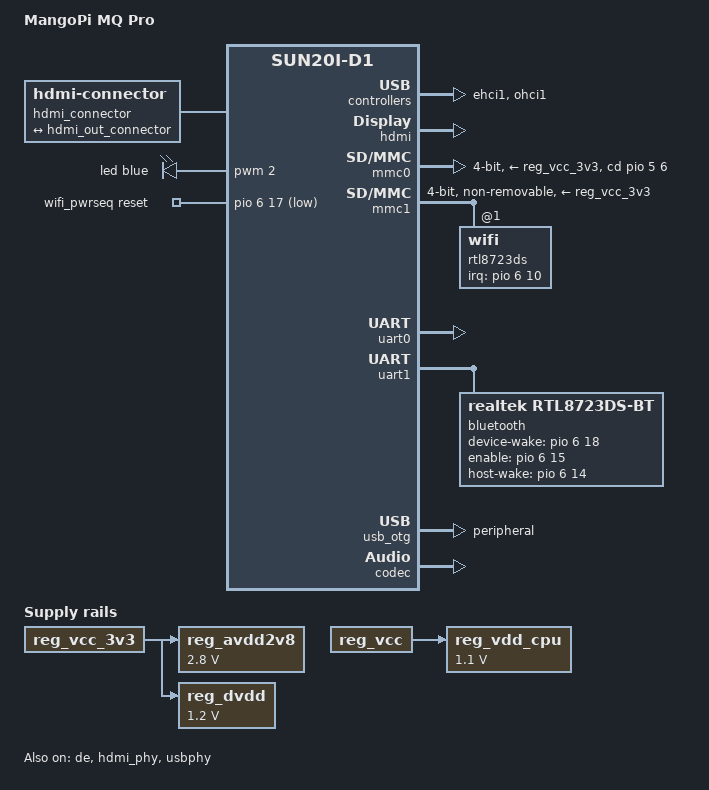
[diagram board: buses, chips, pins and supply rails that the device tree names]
// SPDX-License-Identifier: (GPL-2.0+ or MIT)
// Copyright (C) 2022 Samuel Holland <samuel@sholland.org>

/dts-v1/;

#include <dt-bindings/gpio/gpio.h>
#include <dt-bindings/leds/common.h>

#include "sun20i-d1.dtsi"
#include "sun20i-d1-common-regulators.dtsi"

/ {
	model = "MangoPi MQ Pro";
	compatible = "widora,mangopi-mq-pro", "allwinner,sun20i-d1";

	aliases {
		ethernet0 = &rtl8723ds;
		mmc0 = &mmc0;
		serial0 = &uart0;
	};

	chosen {
		stdout-path = "serial0:115200n8";
	};

	hdmi_connector: connector {
		compatible = "hdmi-connector";
		type = "c";

		port {
			hdmi_connector_in: endpoint {
				remote-endpoint = <&hdmi_out_connector>;
			};
		};
	};

	leds {
		compatible = "pwm-leds";

		led {
			color = <LED_COLOR_ID_BLUE>;
			function = LED_FUNCTION_STATUS;
			max-brightness = <255>;
			pwms = <&pwm 2 50000 0>;
		};
	};

	reg_avdd2v8: avdd2v8 {
		compatible = "regulator-fixed";
		regulator-name = "avdd2v8";
		regulator-min-microvolt = <2800000>;
		regulator-max-microvolt = <2800000>;
		vin-supply = <&reg_vcc_3v3>;
	};

	reg_dvdd: dvdd {
		compatible = "regulator-fixed";
		regulator-name = "dvdd";
		regulator-min-microvolt = <1200000>;
		regulator-max-microvolt = <1200000>;
		vin-supply = <&reg_vcc_3v3>;
	};

	reg_vdd_cpu: vdd-cpu {
		compatible = "regulator-fixed";
		regulator-name = "vdd-cpu";
		regulator-min-microvolt = <1100000>;
		regulator-max-microvolt = <1100000>;
		vin-supply = <&reg_vcc>;
	};

	wifi_pwrseq: wifi-pwrseq {
		compatible = "mmc-pwrseq-simple";
		reset-gpios = <&pio 6 17 GPIO_ACTIVE_LOW>; /* PG17 */
	};
};

&cpu0 {
        cpu-supply = <&reg_vdd_cpu>;
        riscv,isa = "rv64imafdcv";
};

&de {
	status = "okay";
};

&ehci1 {
	status = "okay";
};

&hdmi {
	status = "okay";
};

&hdmi_out {
	hdmi_out_connector: endpoint {
		remote-endpoint = <&hdmi_connector_in>;
	};
};

&hdmi_phy {
	status = "okay";
};

&mmc0 {
	bus-width = <4>;
	cd-gpios = <&pio 5 6 GPIO_ACTIVE_HIGH>; /* PF6 */
	disable-wp;
	vmmc-supply = <&reg_vcc_3v3>;
	vqmmc-supply = <&reg_vcc_3v3>;
	pinctrl-0 = <&mmc0_pins>;
	pinctrl-names = "default";
	status = "okay";
};

&mmc1 {
	bus-width = <4>;
	mmc-pwrseq = <&wifi_pwrseq>;
	non-removable;
	vmmc-supply = <&reg_vcc_3v3>;
	vqmmc-supply = <&reg_vcc_3v3>;
	pinctrl-0 = <&mmc1_pins>;
	pinctrl-names = "default";
	status = "okay";

	rtl8723ds: wifi@1 {
		reg = <1>;
		interrupt-parent = <&pio>;
		interrupts = <6 10 IRQ_TYPE_LEVEL_LOW>; /* PG10 */
		interrupt-names = "host-wake";
	};
};

&ohci1 {
	status = "okay";
};

&pio {
	vcc-pe-supply = <&reg_avdd2v8>;

        // Line names
        gpio-line-names =
            // Port A
            "", "", "", "", "", "", "", "",
            "", "", "", "", "", "", "", "",
            "", "", "", "", "", "", "", "",
            "", "", "", "", "", "", "", "",

            // Port B
            "PB0", "PB1", "PB2", "PB3",
            "PB4", "PB5", "PB6", "PB7",
            "PB8", "PB9", "PB10", "PB11",
            "PB12", "", "", "",
            "", "", "", "",
            "", "", "", "",
            "", "", "", "",
            "", "", "", "",

            // Port C
            "PC0", "PC1", "PC2", "PC3",
            "PC4", "PC5", "PC6", "PC7",
            "", "", "", "",
            "", "", "", "",
            "", "", "", "",
            "", "", "", "",
            "", "", "", "",
            "", "", "", "",

            // Port D
            "PD0", "PD1", "PD2", "PD3",
            "PD4", "PD5", "PD6", "PD7",
            "PD8", "PD9", "PD10", "PD11",
            "PD12", "PD13", "PD14", "PD15",
            "PD16", "PD17", "PD18", "PD19",
            "PD20", "PD21", "PD22", "",
            "", "", "", "",
            "", "", "", "",

            // Port E
            "PE0", "PE1", "PE2", "PE3",
            "PE4", "PE5", "PE6", "PE7",
            "PE8", "PE9", "PE10", "PE11",
            "PE12", "PE13", "PE14", "PE15",
            "PE16", "PE17", "", "",
            "", "", "", "",
            "", "", "", "",
            "", "", "", "",

            // Port F
            "PF0", "PF1", "PF2", "PF3",
            "PF4", "PF5", "PF6", "",
            "", "", "", "",
            "", "", "", "",
            "", "", "", "",
            "", "", "", "",
            "", "", "", "",
            "", "", "", "",

            // Port G
            "PG0", "PG1", "PG2", "PG3",
            "PG4", "PG5", "PG6", "PG7",
            "PG8", "PG9", "PG10", "PG11",
            "PG12", "PG13", "PG14", "PG15",
            "PG16", "PG17", "PG18",  "",
            "", "", "", "",
            "", "", "", "",
            "", "", "", "";

};

&uart0 {
	pinctrl-0 = <&uart0_pb8_pins>;
	pinctrl-names = "default";
	status = "okay";
};

&uart1 {
	uart-has-rtscts;
	pinctrl-0 = <&uart1_pg6_pins>, <&uart1_pg8_rts_cts_pins>;
	pinctrl-names = "default";
	status = "okay";

	bluetooth {
		compatible = "realtek,rtl8723ds-bt";
		device-wake-gpios = <&pio 6 18 GPIO_ACTIVE_HIGH>; /* PG18 */
		enable-gpios = <&pio 6 15 GPIO_ACTIVE_HIGH>; /* PG15 */
		host-wake-gpios = <&pio 6 14 GPIO_ACTIVE_HIGH>; /* PG14 */
	};
};

&usb_otg {
	dr_mode = "peripheral";
	status = "okay";
};

&usbphy {
	usb0_vbus-supply = <&reg_vcc>;
	status = "okay";
};

&codec {
        routing = "Headphone Jack", "HPOUTL",
                  "Headphone Jack", "HPOUTR";
        widgets = "Headphone", "Headphone Jack";
        status = "okay";
};
